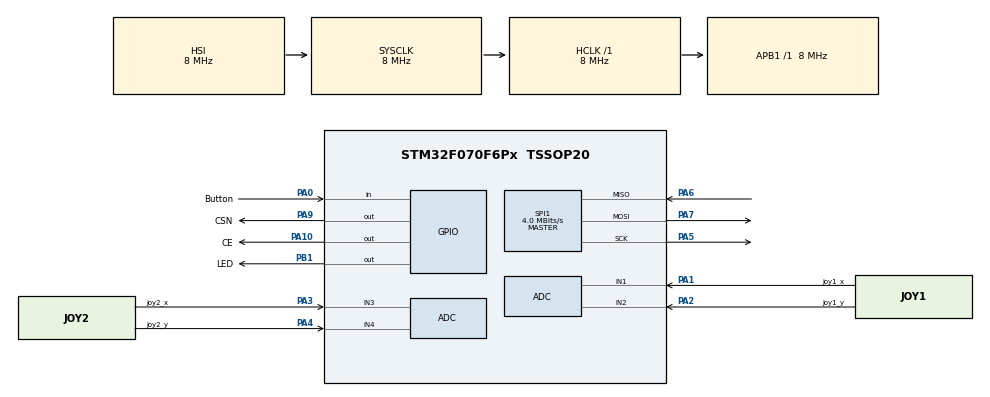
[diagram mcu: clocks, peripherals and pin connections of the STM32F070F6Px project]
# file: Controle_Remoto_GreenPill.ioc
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ADC.ContinuousConvMode=ENABLE
ADC.DMAContinuousRequests=ENABLE
ADC.SamplingTime=ADC_SAMPLETIME_239CYCLES_5
Dma.ADC.0.Direction=DMA_PERIPH_TO_MEMORY
Dma.ADC.0.Instance=DMA1_Channel1
Dma.ADC.0.MemDataAlignment=DMA_MDATAALIGN_HALFWORD
Dma.ADC.0.MemInc=DMA_MINC_ENABLE
Dma.ADC.0.Mode=DMA_CIRCULAR
Dma.ADC.0.PeriphDataAlignment=DMA_PDATAALIGN_HALFWORD
Dma.ADC.0.PeriphInc=DMA_PINC_DISABLE
Dma.ADC.0.Priority=DMA_PRIORITY_LOW
Dma.Request0=ADC
Mcu.Family=STM32F0
Mcu.Name=STM32F070F6Px
Mcu.Package=TSSOP20
NVIC.DMA1_Channel1_IRQn=true\:0\:0\:false\:false\:true\:false\:true\:true
PA0.GPIO_Label=Button
PA0.Signal=GPIO_Input
PA1.GPIO_Label=joy1_x
PA1.Mode=IN1
PA1.Signal=ADC_IN1
PA10.GPIO_Label=CE
PA10.Signal=GPIO_Output
PA13.Mode=Serial_Wire
PA13.Signal=SYS_SWDIO
PA14.Mode=Serial_Wire
PA14.Signal=SYS_SWCLK
PA2.GPIO_Label=joy1_y
PA2.Mode=IN2
PA2.Signal=ADC_IN2
PA3.GPIO_Label=joy2_x
PA3.Mode=IN3
PA3.Signal=ADC_IN3
PA4.GPIO_Label=joy2_y
PA4.Mode=IN4
PA4.Signal=ADC_IN4
PA5.Mode=Full_Duplex_Master
PA5.Signal=SPI1_SCK
PA6.Mode=Full_Duplex_Master
PA6.Signal=SPI1_MISO
PA7.Mode=Full_Duplex_Master
PA7.Signal=SPI1_MOSI
PA9.GPIO_Label=CSN
PA9.Signal=GPIO_Output
PB1.GPIO_Label=LED
PB1.Signal=GPIO_Output
ProjectManager.HeapSize=0x200
ProjectManager.StackSize=0x400
ProjectManager.TargetToolchain=STM32CubeIDE
RCC.AHBFreq_Value=8000000
RCC.APB1Freq_Value=8000000
RCC.APB1TimFreq_Value=8000000
RCC.HCLKFreq_Value=8000000
RCC.PLLMUL=RCC_PLL_MUL6
RCC.SYSCLKFreq_VALUE=8000000
SPI1.BaudRatePrescaler=SPI_BAUDRATEPRESCALER_2
SPI1.CalculateBaudRate=4.0 MBits/s
SPI1.Direction=SPI_DIRECTION_2LINES
SPI1.Mode=SPI_MODE_MASTER
SPI1.VirtualType=VM_MASTER
board=custom

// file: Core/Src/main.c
/* USER CODE BEGIN Header */
/**
  ******************************************************************************
  * @file           : main.c
  * @brief          : Main program body
  ******************************************************************************
  * @attention
  *
  * Copyright (c) 2025 STMicroelectronics.
  * All rights reserved.
  *
  * This software is licensed under terms that can be found in the LICENSE file
  * in the root directory of this software component.
  * If no LICENSE file comes with this software, it is provided AS-IS.
  *
  ******************************************************************************
  */
/* USER CODE END Header */
#include "main.h"

/* USER CODE BEGIN Includes */

#include "NRF24L01.h"

/* USER CODE END Includes */

/* USER CODE BEGIN PTD */

NRF24_HandleTypeDef nrf;

//typedef struct {
//    uint16_t joy1_x;
//    uint16_t joy1_y;
//    uint16_t joy2_x;
//    uint16_t joy2_y;
//} JoystickData_t;
//
//JoystickData_t joystickData;  // Struct com os dados atuais
//
//uint32_t test_pot;  // valor do potenciômetro

/* USER CODE END PTD */

ADC_HandleTypeDef hadc;
DMA_HandleTypeDef hdma_adc;

SPI_HandleTypeDef hspi1;

void SystemClock_Config(void);
static void MX_GPIO_Init(void);
static void MX_DMA_Init(void);
static void MX_ADC_Init(void);
static void MX_SPI1_Init(void);

/* USER CODE BEGIN 0 */
  uint8_t miau = -1;
  uint8_t ok = -1;

/* USER CODE END 0 */

int main(void)
{

  /* MCU Configuration--------------------------------------------------------*/

  /* Reset of all peripherals, Initializes the Flash interface and the Systick. */
  HAL_Init();

  /* Configure the system clock */
  SystemClock_Config();

  /* Initialize all configured peripherals */
  MX_GPIO_Init();
  MX_DMA_Init();
  MX_ADC_Init();
  MX_SPI1_Init();
  /* USER CODE BEGIN 2 */

  //HAL_ADC_Start_DMA(&hadc, (uint32_t*)&joystickData, sizeof(joystickData));

  HAL_ADC_Start(&hadc);

  nrf.hspi = &hspi1;
  nrf.CE_port = CE_GPIO_Port; nrf.CE_pin = CE_Pin;
  nrf.CSN_port = CSN_GPIO_Port; nrf.CSN_pin = CSN_Pin;

  NRF24_Init_TX(&nrf);

  /* USER CODE END 2 */

  /* Infinite loop */
  while (1)
  {

    /* USER CODE BEGIN 3 */

	  /*uint8_t ok = NRF24_Send(&nrf, (uint8_t*)&joystickData, sizeof(joystickData));
	          NRF24_DebugLED(LED_GPIO_Port, LED_Pin, ok);
	          HAL_Delay(1000);

	  */

	  /*
	  HAL_ADC_PollForConversion(&hadc, HAL_MAX_DELAY);
	  test_pot = HAL_ADC_GetValue(&hadc);
	  HAL_Delay(10);

	  uint8_t ok = NRF24_Send(&nrf, (uint8_t*)&test_pot, sizeof(test_pot));
	  	          NRF24_DebugLED(LED_GPIO_Port, LED_Pin, ok);
	  	          HAL_Delay(1000);

	  */
//	  HAL_ADC_PollForConversion(&hadc, HAL_MAX_DELAY);
//	  test_pot = HAL_ADC_GetValue(&hadc);
//	  HAL_Delay(10);

//	  uint8_t buffer[32] = {0};
//	  buffer[0] = test_pot & 0xFF;
//	  buffer[1] = (test_pot >> 8) & 0xFF;
//
//	  uint8_t ok = NRF24_Send(&nrf, (uint8_t*)buffer, 32);
//				   //NRF24_DebugLED(LED_GPIO_Port, LED_Pin, ok);
//				   HAL_Delay(1000);
	  if (HAL_GPIO_ReadPin(GPIOA, GPIO_PIN_0))
	  {
		  miau = GPIO_PIN_SET;
		  ok = NRF24_Send(&nrf, &miau, 8);
		  HAL_Delay(1000);
	  }
	  else
	  {
		  miau = GPIO_PIN_RESET;
		  ok = NRF24_Send(&nrf, &miau, 8);
		  HAL_Delay(1000);
	  }

  }
  /* USER CODE END 3 */
}

void SystemClock_Config(void)
{
  RCC_OscInitTypeDef RCC_OscInitStruct = {0};
  RCC_ClkInitTypeDef RCC_ClkInitStruct = {0};

  /** Initializes the RCC Oscillators according to the specified parameters
  * in the RCC_OscInitTypeDef structure.
  */
  RCC_OscInitStruct.OscillatorType = RCC_OSCILLATORTYPE_HSI|RCC_OSCILLATORTYPE_HSI14;
  RCC_OscInitStruct.HSIState = RCC_HSI_ON;
  RCC_OscInitStruct.HSI14State = RCC_HSI14_ON;
  RCC_OscInitStruct.HSICalibrationValue = RCC_HSICALIBRATION_DEFAULT;
  RCC_OscInitStruct.HSI14CalibrationValue = 16;
  RCC_OscInitStruct.PLL.PLLState = RCC_PLL_NONE;
  if (HAL_RCC_OscConfig(&RCC_OscInitStruct) != HAL_OK)
  {
    Error_Handler();
  }

  /** Initializes the CPU, AHB and APB buses clocks
  */
  RCC_ClkInitStruct.ClockType = RCC_CLOCKTYPE_HCLK|RCC_CLOCKTYPE_SYSCLK
                              |RCC_CLOCKTYPE_PCLK1;
  RCC_ClkInitStruct.SYSCLKSource = RCC_SYSCLKSOURCE_HSI;
  RCC_ClkInitStruct.AHBCLKDivider = RCC_SYSCLK_DIV1;
  RCC_ClkInitStruct.APB1CLKDivider = RCC_HCLK_DIV1;

  if (HAL_RCC_ClockConfig(&RCC_ClkInitStruct, FLASH_LATENCY_0) != HAL_OK)
  {
    Error_Handler();
  }
}

static void MX_ADC_Init(void)
{

  ADC_ChannelConfTypeDef sConfig = {0};

  /** Configure the global features of the ADC (Clock, Resolution, Data Alignment and number of conversion)
  */
  hadc.Instance = ADC1;
  hadc.Init.ClockPrescaler = ADC_CLOCK_ASYNC_DIV1;
  hadc.Init.Resolution = ADC_RESOLUTION_12B;
  hadc.Init.DataAlign = ADC_DATAALIGN_RIGHT;
  hadc.Init.ScanConvMode = ADC_SCAN_DIRECTION_FORWARD;
  hadc.Init.EOCSelection = ADC_EOC_SINGLE_CONV;
  hadc.Init.LowPowerAutoWait = DISABLE;
  hadc.Init.LowPowerAutoPowerOff = DISABLE;
  hadc.Init.ContinuousConvMode = ENABLE;
  hadc.Init.DiscontinuousConvMode = DISABLE;
  hadc.Init.ExternalTrigConv = ADC_SOFTWARE_START;
  hadc.Init.ExternalTrigConvEdge = ADC_EXTERNALTRIGCONVEDGE_NONE;
  hadc.Init.DMAContinuousRequests = ENABLE;
  hadc.Init.Overrun = ADC_OVR_DATA_PRESERVED;
  if (HAL_ADC_Init(&hadc) != HAL_OK)
  {
    Error_Handler();
  }

  /** Configure for the selected ADC regular channel to be converted.
  */
  sConfig.Channel = ADC_CHANNEL_1;
  sConfig.Rank = ADC_RANK_CHANNEL_NUMBER;
  sConfig.SamplingTime = ADC_SAMPLETIME_239CYCLES_5;
  if (HAL_ADC_ConfigChannel(&hadc, &sConfig) != HAL_OK)
  {
    Error_Handler();
  }

  /** Configure for the selected ADC regular channel to be converted.
  */
  sConfig.Channel = ADC_CHANNEL_2;
  if (HAL_ADC_ConfigChannel(&hadc, &sConfig) != HAL_OK)
  {
    Error_Handler();
  }

  /** Configure for the selected ADC regular channel to be converted.
  */
  sConfig.Channel = ADC_CHANNEL_3;
  if (HAL_ADC_ConfigChannel(&hadc, &sConfig) != HAL_OK)
  {
    Error_Handler();
  }

  /** Configure for the selected ADC regular channel to be converted.
  */
  sConfig.Channel = ADC_CHANNEL_4;
  if (HAL_ADC_ConfigChannel(&hadc, &sConfig) != HAL_OK)
  {
    Error_Handler();
  }

}

static void MX_SPI1_Init(void)
{

  /* SPI1 parameter configuration*/
  hspi1.Instance = SPI1;
  hspi1.Init.Mode = SPI_MODE_MASTER;
  hspi1.Init.Direction = SPI_DIRECTION_2LINES;
  hspi1.Init.DataSize = SPI_DATASIZE_4BIT;
  hspi1.Init.CLKPolarity = SPI_POLARITY_LOW;
  hspi1.Init.CLKPhase = SPI_PHASE_1EDGE;
  hspi1.Init.NSS = SPI_NSS_SOFT;
  hspi1.Init.BaudRatePrescaler = SPI_BAUDRATEPRESCALER_2;
  hspi1.Init.FirstBit = SPI_FIRSTBIT_MSB;
  hspi1.Init.TIMode = SPI_TIMODE_DISABLE;
  hspi1.Init.CRCCalculation = SPI_CRCCALCULATION_DISABLE;
  hspi1.Init.CRCPolynomial = 7;
  hspi1.Init.CRCLength = SPI_CRC_LENGTH_DATASIZE;
  hspi1.Init.NSSPMode = SPI_NSS_PULSE_ENABLE;
  if (HAL_SPI_Init(&hspi1) != HAL_OK)
  {
    Error_Handler();
  }

}

static void MX_DMA_Init(void)
{

  /* DMA controller clock enable */
  __HAL_RCC_DMA1_CLK_ENABLE();

  /* DMA interrupt init */
  /* DMA1_Channel1_IRQn interrupt configuration */
  HAL_NVIC_SetPriority(DMA1_Channel1_IRQn, 0, 0);
  HAL_NVIC_EnableIRQ(DMA1_Channel1_IRQn);

}

static void MX_GPIO_Init(void)
{
  GPIO_InitTypeDef GPIO_InitStruct = {0};

  /* GPIO Ports Clock Enable */
  __HAL_RCC_GPIOA_CLK_ENABLE();
  __HAL_RCC_GPIOB_CLK_ENABLE();

  /*Configure GPIO pin Output Level */
  HAL_GPIO_WritePin(LED_GPIO_Port, LED_Pin, GPIO_PIN_RESET);

  /*Configure GPIO pin Output Level */
  HAL_GPIO_WritePin(GPIOA, CSN_Pin|CE_Pin, GPIO_PIN_RESET);

  /*Configure GPIO pin : Button_Pin */
  GPIO_InitStruct.Pin = Button_Pin;
  GPIO_InitStruct.Mode = GPIO_MODE_INPUT;
  GPIO_InitStruct.Pull = GPIO_NOPULL;
  HAL_GPIO_Init(Button_GPIO_Port, &GPIO_InitStruct);

  /*Configure GPIO pin : LED_Pin */
  GPIO_InitStruct.Pin = LED_Pin;
  GPIO_InitStruct.Mode = GPIO_MODE_OUTPUT_PP;
  GPIO_InitStruct.Pull = GPIO_NOPULL;
  GPIO_InitStruct.Speed = GPIO_SPEED_FREQ_LOW;
  HAL_GPIO_Init(LED_GPIO_Port, &GPIO_InitStruct);

  /*Configure GPIO pins : CSN_Pin CE_Pin */
  GPIO_InitStruct.Pin = CSN_Pin|CE_Pin;
  GPIO_InitStruct.Mode = GPIO_MODE_OUTPUT_PP;
  GPIO_InitStruct.Pull = GPIO_NOPULL;
  GPIO_InitStruct.Speed = GPIO_SPEED_FREQ_LOW;
  HAL_GPIO_Init(GPIOA, &GPIO_InitStruct);

}

void Error_Handler(void)
{
  __disable_irq();
  while (1)
  {
  }
}
